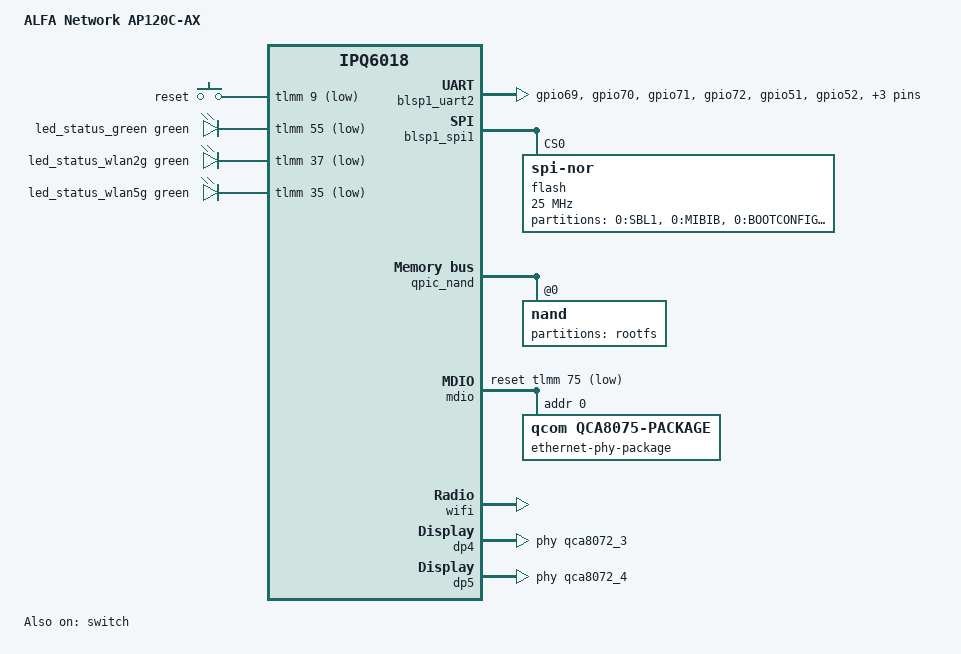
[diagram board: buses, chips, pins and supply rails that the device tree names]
// SPDX-License-Identifier: GPL-2.0-or-later OR MIT

/dts-v1/;

#include "ipq6018.dtsi"
#include "ipq6018-ess.dtsi"
#include "ipq6018-nss.dtsi"
#include "ipq6018-common.dtsi"
#include "ipq6018-cp-cpu.dtsi"

#include <dt-bindings/gpio/gpio.h>
#include <dt-bindings/input/input.h>
#include <dt-bindings/leds/common.h>

/ {
	model = "ALFA Network AP120C-AX";
	compatible = "alfa-network,ap120c-ax", "qcom,ipq6018";

	aliases {
		serial0 = &blsp1_uart3;
		serial1 = &blsp1_uart2;

		led-boot = &led_status_green;
		led-failsafe = &led_status_green;
		led-running = &led_status_green;
		led-upgrade = &led_status_green;
	};

	chosen {
		stdout-path = "serial0:115200n8";
		bootargs-append = " root=/dev/ubiblock0_1";
	};

	keys {
		compatible = "gpio-keys";

		reset {
			label = "reset";
			linux,code = <KEY_RESTART>;
			gpios = <&tlmm 9 GPIO_ACTIVE_LOW>;
		};
	};

	leds {
		compatible = "gpio-leds";

		led_status_green: status-green {
			color = <LED_COLOR_ID_GREEN>;
			function = LED_FUNCTION_STATUS;
			gpios = <&tlmm 55 GPIO_ACTIVE_LOW>;
		};

		led_status_wlan2g: status-wlan2g {
			color = <LED_COLOR_ID_GREEN>;
			function = LED_FUNCTION_WLAN_2GHZ;
			gpios = <&tlmm 37 GPIO_ACTIVE_LOW>;
			linux,default-trigger = "phy1radio";
		};

		led_status_wlan5g: status-wlan5g {
			color = <LED_COLOR_ID_GREEN>;
			function = LED_FUNCTION_WLAN_5GHZ;
			gpios = <&tlmm 35 GPIO_ACTIVE_LOW>;
			linux,default-trigger = "phy0radio";
		};
	};
};

&tlmm {
	btcoex_pins: btcoex-pins {
		mux_0 {
			pins = "gpio51";
			function = "pta1_1";
			drive-strength = <6>;
			bias-pull-down;
		};

		mux_1 {
			pins = "gpio52";
			function = "pta1_2";
			drive-strength = <6>;
			bias-pull-down;
		};

		mux_2 {
			pins = "gpio53";
			function = "pta1_0";
			drive-strength = <6>;
			bias-pull-down;
		};
	};

	btrstint_pins: btrstint-pins {
		pins = "gpio78", "gpio79";
		function = "gpio";
		drive-strength = <8>;
		bias-disable;
	};

	hsuart_pins: hsuart-pins {
		pins = "gpio69", "gpio70", "gpio71", "gpio72";
		function = "blsp1_uart";
		drive-strength = <8>;
		bias-disable;
	};
};

&blsp1_uart2 {
	status = "okay";

	pinctrl-0 = <&hsuart_pins>, <&btcoex_pins>, <&btrstint_pins>;
	pinctrl-names = "default";

	dmas = <&blsp_dma 2>, <&blsp_dma 3>;
	dma-names = "tx", "rx";
};

&blsp1_spi1 {
	status = "okay";

	flash@0 {
		compatible = "jedec,spi-nor";
		spi-max-frequency = <25000000>;
		reg = <0>;

		partitions {
			compatible = "fixed-partitions";
			#address-cells = <1>;
			#size-cells = <1>;

			partition@0 {
				label = "0:SBL1";
				reg = <0x00000000 0x000c0000>;
				read-only;
			};

			partition@c0000 {
				label = "0:MIBIB";
				reg = <0x000c0000 0x00010000>;
				read-only;
			};

			partition@d0000 {
				label = "0:BOOTCONFIG";
				reg = <0x000d0000 0x00020000>;
			};

			partition@f0000 {
				label = "0:BOOTCONFIG1";
				reg = <0x000f0000 0x00020000>;
			};

			partition@110000 {
				label = "0:QSEE";
				reg = <0x00110000 0x001a0000>;
				read-only;
			};

			partition@2b0000 {
				label = "0:QSEE_1";
				reg = <0x002b0000 0x001a0000>;
				read-only;
			};

			partition@450000 {
				label = "0:DEVCFG";
				reg = <0x00450000 0x00010000>;
				read-only;
			};

			partition@460000 {
				label = "0:DEVCFG_1";
				reg = <0x00460000 0x00010000>;
				read-only;
			};

			partition@470000 {
				label = "0:RPM";
				reg = <0x00470000 0x00040000>;
				read-only;
			};

			partition@4b0000 {
				label = "0:RPM_1";
				reg = <0x004b0000 0x00040000>;
				read-only;
			};

			partition@4f0000 {
				label = "0:CDT";
				reg = <0x004f0000 0x00010000>;
				read-only;
			};

			partition@500000 {
				label = "0:CDT_1";
				reg = <0x00500000 0x00010000>;
				read-only;
			};

			partition@510000 {
				label = "0:APPSBLENV";
				reg = <0x00510000 0x00010000>;
			};

			partition@520000 {
				label = "0:APPSBL";
				reg = <0x00520000 0x000a0000>;
				read-only;
			};

			partition@5c0000 {
				label = "0:APPSBL_1";
				reg = <0x005c0000 0x000a0000>;
				read-only;
			};

			partition@660000 {
				label = "0:ART";
				reg = <0x00660000 0x00040000>;

				nvmem-layout {
					compatible = "fixed-layout";
					#address-cells = <1>;
					#size-cells = <1>;

					macaddr_lan: macaddr@6 {
						reg = <0x06 0x06>;
					};

					macaddr_wan: macaddr@0 {
						reg = <0x00 0x06>;
					};
				};
			};
		};
	};
};

&qpic_nand {
	status = "okay";

	partitions {
		status = "disabled";
	};

	nand@0 {
		reg = <0>;

		nand-ecc-strength = <4>;
		nand-ecc-step-size = <512>;
		nand-bus-width = <8>;

		partitions {
			compatible = "fixed-partitions";
			#address-cells = <1>;
			#size-cells = <1>;

			partition@0 {
				label = "rootfs";
				reg = <0x0 0x0>;
			};
		};
	};
};

&mdio {
	status = "okay";

	pinctrl-0 = <&mdio_pins>;
	pinctrl-names = "default";
	reset-gpios = <&tlmm 75 GPIO_ACTIVE_LOW>;
	reset-delay-us = <10000>;
	reset-post-delay-us = <50000>;

	ethernet-phy-package@0 {
		compatible = "qcom,qca8075-package";
		#address-cells = <1>;
		#size-cells = <0>;
		reg = <0>;

		qca8072_3: ethernet-phy@3 {
			compatible = "ethernet-phy-ieee802.3-c22";
			reg = <3>;
		};

		qca8072_4: ethernet-phy@4 {
			compatible = "ethernet-phy-ieee802.3-c22";
			reg = <4>;
		};
	};
};

&switch {
	status = "okay";

	switch_lan_bmp = <ESS_PORT4>;
	switch_wan_bmp = <ESS_PORT5>;
	switch_mac_mode = <MAC_MODE_PSGMII>;

	qcom,port_phyinfo {
		port@4 {
			port_id = <4>;
			phy_address = <3>;
		};

		port@5 {
			port_id = <5>;
			phy_address = <4>;
		};
	};
};

&wifi {
	status = "okay";
	qcom,ath11k-fw-memory-mode = <1>;
	qcom,ath11k-calibration-variant = "ALFA-Network-AP120C-AX";
};

&dp4 {
	status = "okay";

	phy-handle = <&qca8072_3>;
	label = "lan";
	nvmem-cells = <&macaddr_lan>;
	nvmem-cell-names = "mac-address";
};

&dp5 {
	status = "okay";

	phy-handle = <&qca8072_4>;
	label = "wan";
	nvmem-cells = <&macaddr_wan>;
	nvmem-cell-names = "mac-address";
};

&edma {
	status = "okay";
};
